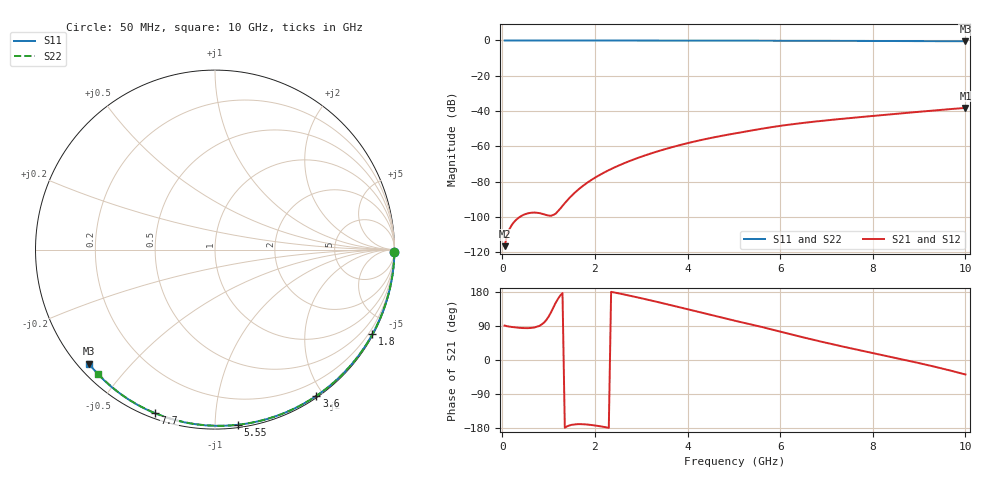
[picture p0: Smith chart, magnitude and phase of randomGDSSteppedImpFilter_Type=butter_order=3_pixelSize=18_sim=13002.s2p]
! freq	dB(S11)	phase(S11)	dB(S12)	phase(S12)
!  dB(S21)	phase(S21)	dB(S22)	phase(S22)
!S-par simulation data
#  GHz  S  DB  R 50
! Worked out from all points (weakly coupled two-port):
!   200 points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, 50 MHz to 10 GHz, reference 50 ohm
!   highest |S21| = -38.26 dB at 10 GHz (marker M1); lowest = -116.6 dB at 50 MHz (marker M2)
!   lowest |S11| = -0.5 dB at 10 GHz (marker M3), VSWR 36.94, Z = 1.55 - j19.2 ohm
!   |S11| at or under -10 dB: nowhere
!   |S22| runs from -0.4 to 0.0 dB; largest |S21 - S12| = 0
!   S11 on the Smith chart (normalised r, x): 50 MHz: open; 1.8 GHz: 0.03, -3.97; 3.6 GHz: 0.02, -1.91; 5.55 GHz: 0.02, -1.14; 7.7 GHz: 0.02, -0.70; 10 GHz: 0.03, -0.38
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0.05  -0.00 -0.8  -116.63 90.9  -116.63 90.9  -0.00 -0.8
0.45  -0.01 -7.2  -98.96 84.3  -98.96 84.3  -0.01 -6.9
0.9  -0.02 -14.3  -98.56 98.6  -98.56 98.6  -0.02 -13.8
1.75  -0.04 -27.5  -82.27 -169.5  -82.27 -169.5  -0.03 -26.5
1.8  -0.04 -28.3  -81.30 -169.9  -81.30 -169.9  -0.03 -27.3
1.85  -0.04 -29.1  -80.38 -170.5  -80.38 -170.5  -0.04 -28.0
1.9  -0.04 -29.8  -79.49 -171.1  -79.49 -171.1  -0.04 -28.8
2.05  -0.04 -32.1  -77.05 -173.7  -77.05 -173.7  -0.04 -31.0
2.25  -0.05 -35.2  -74.18 -177.8  -74.18 -177.8  -0.04 -33.9
2.65  -0.05 -41.2  -69.39 172.4  -69.39 172.4  -0.05 -39.8
3  -0.06 -46.4  -65.92 163.0  -65.92 163.0  -0.06 -44.8
3.4  -0.07 -52.3  -62.51 151.7  -62.51 151.7  -0.07 -50.5
3.6  -0.07 -55.3  -60.98 145.9  -60.98 145.9  -0.07 -53.4
4.3  -0.09 -65.3  -56.41 124.9  -56.41 124.9  -0.09 -63.0
5.05  -0.12 -75.7  -52.58 102.9  -52.58 102.9  -0.11 -73.1
5.55  -0.14 -82.4  -50.28 88.8  -50.28 88.8  -0.13 -79.7
6.1  -0.16 -89.7  -48.06 71.8  -48.06 71.8  -0.15 -86.7
6.7  -0.19 -97.5  -46.15 53.8  -46.15 53.8  -0.18 -94.2
7.7  -0.25 -110.0  -43.53 26.2  -43.53 26.2  -0.24 -106.4
8.35  -0.31 -118.0  -41.97 9.1  -41.97 9.1  -0.28 -114.1
9.15  -0.38 -127.7  -40.09 -12.4  -40.09 -12.4  -0.35 -123.4
10  -0.47 -137.9  -38.26 -38.2  -38.26 -38.2  -0.44 -133.2
